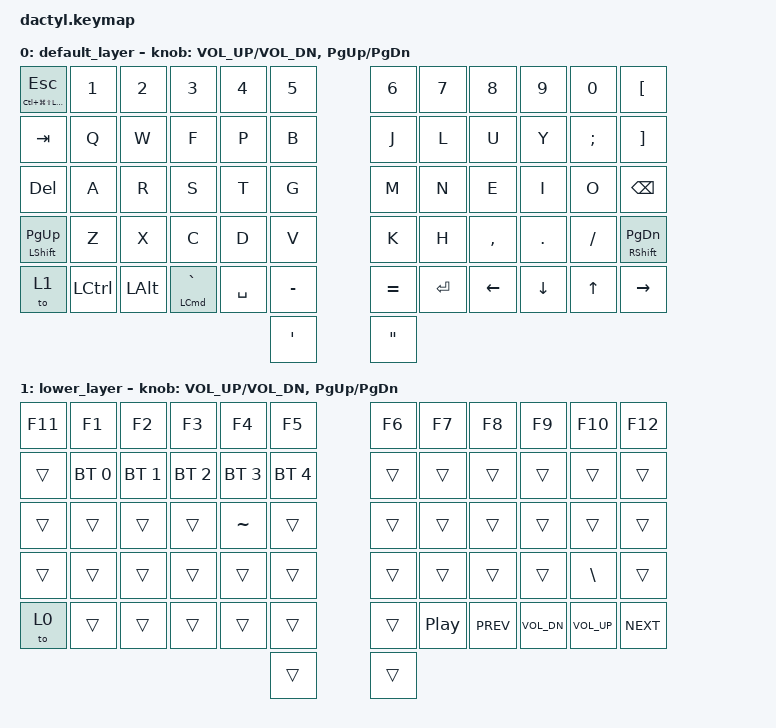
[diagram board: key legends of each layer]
/*
 * Copyright (c) 2020 The ZMK Contributors
 *
 * SPDX-License-Identifier: MIT
 */

#include <behaviors.dtsi>
#include <dt-bindings/zmk/keys.h>
#include <dt-bindings/zmk/bt.h>

&mt {
   tapping-term-ms = <200>;
};

/ {
    keymap {
        compatible = "zmk,keymap";

        default_layer {
            bindings = <
&mt LC(LG(LS(LALT))) ESC  	&kp N1 		&kp N2   	&kp N3   	&kp N4    	&kp N5                      				&kp N6 		&kp N7    		&kp N8    		&kp N9   	&kp N0   	&kp LBKT
&kp TAB   					&kp Q  		&kp W    	&kp F    	&kp P     	&kp B                       				&kp J  		&kp L     		&kp U     		&kp Y    	&kp SEMI 	&kp RBKT
&kp DEL                     &kp A  		&kp R    	&kp S    	&kp T     	&kp G                       				&kp M  		&kp N     		&kp E     		&kp I    	&kp O 		&kp BSPC
&mt LSHFT PG_UP 			&kp Z  		&kp X    	&kp C    	&kp D     	&kp V 					     				&kp K  		&kp H     		&kp COMMA 		&kp DOT  	&kp FSLH 	&mt RSHFT PG_DN
&to 1 						&kp LCTRL 	&kp LALT 	&mt LCMD GRAVE	&kp SPACE   &kp MINUS 								&kp EQUAL  	&kp RET 		&kp LEFT  		&kp DOWN	&kp UP		&kp RIGHT
																			&kp SQT								&kp DQT
            >;

            sensor-bindings = <&inc_dec_kp C_VOL_UP C_VOL_DN &inc_dec_kp PG_UP PG_DN>;
        };

        lower_layer {
            bindings = <

    &kp F11              	&kp F1    	&kp F2    	&kp F3    	&kp F4    	&kp F5                                    	&kp F6      &kp F7       	&kp F8       	&kp F9      &kp F10     &kp F12 
    &trans   &bt BT_SEL 0  	&bt BT_SEL 1 	&bt BT_SEL 2  	&bt BT_SEL 3  	&bt BT_SEL 4                            		&trans      &trans     		&trans     		&trans      &trans      &trans 
    &trans             		&trans  	&trans  	&trans 		&kp TILDE 	&trans                                   	&trans      &trans     		&trans     		&trans      &trans      &trans 
    &trans             		&trans  	&trans  	&trans  	&trans  	&trans                                  	&trans      &trans     		&trans     		&trans      &kp BSLH    &trans 
    &to 0              		&trans  	&trans  	&trans 		&trans 		&trans                           			&trans      &kp C_PP     	&kp C_PREV    	&kp C_VOL_DN   &kp C_VOL_UP   &kp C_NEXT 
                                                                    		&trans               						&trans
            >;

            sensor-bindings = <&inc_dec_kp C_VOL_UP C_VOL_DN &inc_dec_kp PG_UP PG_DN>;
        };

    };
};
